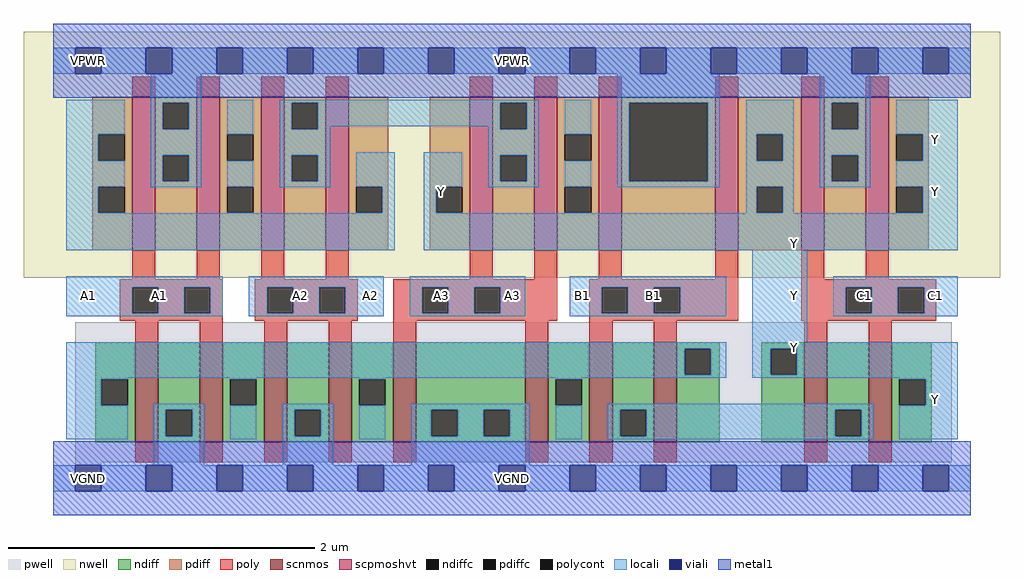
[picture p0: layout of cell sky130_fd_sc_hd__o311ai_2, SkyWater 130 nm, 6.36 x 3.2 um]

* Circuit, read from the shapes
.subckt sky130_fd_sc_hd__o311ai_2 A1 A2 A3 B1 C1 VGND VNB VPB VPWR Y
XM1 VGND A1 n1 VNB sky130_fd_pr__nfet_01v8 w=0.65 l=0.15 m=2
XM2 VGND A2 n1 VNB sky130_fd_pr__nfet_01v8 w=0.65 l=0.15 m=2
XM3 VGND A3 n1 VNB sky130_fd_pr__nfet_01v8 w=0.65 l=0.15 m=2
XM4 n2 B1 n1 VNB sky130_fd_pr__nfet_01v8 w=0.65 l=0.15 m=2
XM5 n2 C1 Y VNB sky130_fd_pr__nfet_01v8 w=0.65 l=0.15 m=2
XM6 VPWR A1 n3 VPB sky130_fd_pr__pfet_01v8_hvt w=1 l=0.15 m=2
XM7 n4 A2 n3 VPB sky130_fd_pr__pfet_01v8_hvt w=1 l=0.15 m=2
XM8 n4 A3 Y VPB sky130_fd_pr__pfet_01v8_hvt w=1 l=0.15 m=2
XM9 VPWR B1 Y VPB sky130_fd_pr__pfet_01v8_hvt w=1 l=0.15 m=2
XM10 VPWR C1 Y VPB sky130_fd_pr__pfet_01v8_hvt w=1 l=0.15 m=2
.ends

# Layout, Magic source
magic
tech sky130B
magscale 1 2
<< nwell >>
rect -38 261 1234 582
<< pwell >>
rect 29 21 1171 203
rect 29 -17 63 21
<< scnmos >>
rect 107 47 137 177
rect 191 47 221 177
rect 275 47 305 177
rect 359 47 389 177
rect 443 47 473 177
rect 615 47 645 177
rect 699 47 729 177
rect 783 47 813 177
rect 979 47 1009 177
rect 1063 47 1093 177
<< scpmoshvt >>
rect 103 297 133 497
rect 187 297 217 497
rect 271 297 301 497
rect 355 297 385 497
rect 543 297 573 497
rect 627 297 657 497
rect 711 297 741 497
rect 863 297 893 497
rect 975 297 1005 497
rect 1059 297 1089 497
<< ndiff >>
rect 55 129 107 177
rect 55 95 63 129
rect 97 95 107 129
rect 55 47 107 95
rect 137 89 191 177
rect 137 55 147 89
rect 181 55 191 89
rect 137 47 191 55
rect 221 129 275 177
rect 221 95 231 129
rect 265 95 275 129
rect 221 47 275 95
rect 305 89 359 177
rect 305 55 315 89
rect 349 55 359 89
rect 305 47 359 55
rect 389 129 443 177
rect 389 95 399 129
rect 433 95 443 129
rect 389 47 443 95
rect 473 89 615 177
rect 473 55 493 89
rect 527 55 561 89
rect 595 55 615 89
rect 473 47 615 55
rect 645 129 699 177
rect 645 95 655 129
rect 689 95 699 129
rect 645 47 699 95
rect 729 89 783 177
rect 729 55 739 89
rect 773 55 783 89
rect 729 47 783 55
rect 813 169 869 177
rect 813 135 823 169
rect 857 135 869 169
rect 813 47 869 135
rect 923 169 979 177
rect 923 135 935 169
rect 969 135 979 169
rect 923 47 979 135
rect 1009 89 1063 177
rect 1009 55 1019 89
rect 1053 55 1063 89
rect 1009 47 1063 55
rect 1093 129 1145 177
rect 1093 95 1103 129
rect 1137 95 1145 129
rect 1093 47 1145 95
<< pdiff >>
rect 51 448 103 497
rect 51 414 59 448
rect 93 414 103 448
rect 51 380 103 414
rect 51 346 59 380
rect 93 346 103 380
rect 51 297 103 346
rect 133 489 187 497
rect 133 455 143 489
rect 177 455 187 489
rect 133 421 187 455
rect 133 387 143 421
rect 177 387 187 421
rect 133 297 187 387
rect 217 448 271 497
rect 217 414 227 448
rect 261 414 271 448
rect 217 380 271 414
rect 217 346 227 380
rect 261 346 271 380
rect 217 297 271 346
rect 301 489 355 497
rect 301 455 311 489
rect 345 455 355 489
rect 301 421 355 455
rect 301 387 311 421
rect 345 387 355 421
rect 301 297 355 387
rect 385 380 437 497
rect 385 346 395 380
rect 429 346 437 380
rect 385 297 437 346
rect 491 380 543 497
rect 491 346 499 380
rect 533 346 543 380
rect 491 297 543 346
rect 573 489 627 497
rect 573 455 583 489
rect 617 455 627 489
rect 573 421 627 455
rect 573 387 583 421
rect 617 387 627 421
rect 573 297 627 387
rect 657 448 711 497
rect 657 414 667 448
rect 701 414 711 448
rect 657 380 711 414
rect 657 346 667 380
rect 701 346 711 380
rect 657 297 711 346
rect 741 489 863 497
rect 741 387 751 489
rect 853 387 863 489
rect 741 297 863 387
rect 893 448 975 497
rect 893 414 917 448
rect 951 414 975 448
rect 893 380 975 414
rect 893 346 917 380
rect 951 346 975 380
rect 893 297 975 346
rect 1005 489 1059 497
rect 1005 455 1015 489
rect 1049 455 1059 489
rect 1005 421 1059 455
rect 1005 387 1015 421
rect 1049 387 1059 421
rect 1005 297 1059 387
rect 1089 448 1141 497
rect 1089 414 1099 448
rect 1133 414 1141 448
rect 1089 380 1141 414
rect 1089 346 1099 380
rect 1133 346 1141 380
rect 1089 297 1141 346
<< ndiffc >>
rect 63 95 97 129
rect 147 55 181 89
rect 231 95 265 129
rect 315 55 349 89
rect 399 95 433 129
rect 493 55 527 89
rect 561 55 595 89
rect 655 95 689 129
rect 739 55 773 89
rect 823 135 857 169
rect 935 135 969 169
rect 1019 55 1053 89
rect 1103 95 1137 129
<< pdiffc >>
rect 59 414 93 448
rect 59 346 93 380
rect 143 455 177 489
rect 143 387 177 421
rect 227 414 261 448
rect 227 346 261 380
rect 311 455 345 489
rect 311 387 345 421
rect 395 346 429 380
rect 499 346 533 380
rect 583 455 617 489
rect 583 387 617 421
rect 667 414 701 448
rect 667 346 701 380
rect 751 387 853 489
rect 917 414 951 448
rect 917 346 951 380
rect 1015 455 1049 489
rect 1015 387 1049 421
rect 1099 414 1133 448
rect 1099 346 1133 380
<< poly >>
rect 103 497 133 523
rect 187 497 217 523
rect 271 497 301 523
rect 355 497 385 523
rect 543 497 573 523
rect 627 497 657 523
rect 711 497 741 523
rect 863 497 893 523
rect 975 497 1005 523
rect 1059 497 1089 523
rect 103 259 133 297
rect 187 259 217 297
rect 271 259 301 297
rect 355 259 385 297
rect 543 259 573 297
rect 627 259 657 297
rect 711 259 741 297
rect 863 259 893 297
rect 87 249 221 259
rect 87 215 103 249
rect 137 215 171 249
rect 205 215 221 249
rect 87 205 221 215
rect 263 249 397 259
rect 263 215 279 249
rect 313 215 347 249
rect 381 215 397 249
rect 263 205 397 215
rect 443 249 657 259
rect 443 215 481 249
rect 515 215 549 249
rect 583 215 657 249
rect 443 205 657 215
rect 699 249 893 259
rect 699 215 715 249
rect 749 215 783 249
rect 817 215 893 249
rect 699 205 893 215
rect 975 259 1005 297
rect 1059 259 1089 297
rect 975 249 1151 259
rect 975 215 1033 249
rect 1067 215 1101 249
rect 1135 215 1151 249
rect 975 205 1151 215
rect 107 177 137 205
rect 191 177 221 205
rect 275 177 305 205
rect 359 177 389 205
rect 443 177 473 205
rect 615 177 645 205
rect 699 177 729 205
rect 783 177 813 205
rect 979 177 1009 205
rect 1063 177 1093 205
rect 107 21 137 47
rect 191 21 221 47
rect 275 21 305 47
rect 359 21 389 47
rect 443 21 473 47
rect 615 21 645 47
rect 699 21 729 47
rect 783 21 813 47
rect 979 21 1009 47
rect 1063 21 1093 47
<< polycont >>
rect 103 215 137 249
rect 171 215 205 249
rect 279 215 313 249
rect 347 215 381 249
rect 481 215 515 249
rect 549 215 583 249
rect 715 215 749 249
rect 783 215 817 249
rect 1033 215 1067 249
rect 1101 215 1135 249
<< locali >>
rect 0 527 29 561
rect 63 527 121 561
rect 155 527 213 561
rect 247 527 305 561
rect 339 527 397 561
rect 431 527 489 561
rect 523 527 581 561
rect 615 527 673 561
rect 707 527 765 561
rect 799 527 857 561
rect 891 527 949 561
rect 983 527 1041 561
rect 1075 527 1133 561
rect 1167 527 1196 561
rect 17 448 93 493
rect 17 414 59 448
rect 17 380 93 414
rect 17 346 59 380
rect 127 489 193 527
rect 127 455 143 489
rect 177 455 193 489
rect 127 421 193 455
rect 127 387 143 421
rect 177 387 193 421
rect 127 379 193 387
rect 227 448 261 493
rect 227 380 261 414
rect 17 345 93 346
rect 295 489 633 493
rect 295 455 311 489
rect 345 459 583 489
rect 345 455 361 459
rect 295 421 361 455
rect 567 455 583 459
rect 617 455 633 489
rect 295 387 311 421
rect 345 387 361 421
rect 295 379 361 387
rect 395 380 445 425
rect 227 345 261 346
rect 429 346 445 380
rect 395 345 445 346
rect 17 297 445 345
rect 483 380 533 425
rect 483 346 499 380
rect 567 421 633 455
rect 567 387 583 421
rect 617 387 633 421
rect 567 379 633 387
rect 667 448 701 493
rect 667 380 701 414
rect 483 345 533 346
rect 735 489 869 527
rect 735 387 751 489
rect 853 387 869 489
rect 735 379 869 387
rect 903 448 965 493
rect 903 414 917 448
rect 951 414 965 448
rect 903 380 965 414
rect 667 345 701 346
rect 903 346 917 380
rect 951 346 965 380
rect 999 489 1065 527
rect 999 455 1015 489
rect 1049 455 1065 489
rect 999 421 1065 455
rect 999 387 1015 421
rect 1049 387 1065 421
rect 999 379 1065 387
rect 1099 448 1179 493
rect 1133 414 1179 448
rect 1099 380 1179 414
rect 903 345 965 346
rect 1133 346 1179 380
rect 1099 345 1179 346
rect 483 297 1179 345
rect 17 249 221 263
rect 17 215 103 249
rect 137 215 171 249
rect 205 215 221 249
rect 17 211 221 215
rect 255 249 431 263
rect 255 215 279 249
rect 313 215 347 249
rect 381 215 431 249
rect 255 211 431 215
rect 465 249 615 263
rect 465 215 481 249
rect 515 215 549 249
rect 583 215 615 249
rect 465 211 615 215
rect 673 249 877 263
rect 673 215 715 249
rect 749 215 783 249
rect 817 215 877 249
rect 673 211 877 215
rect 911 177 983 297
rect 1017 249 1179 263
rect 1017 215 1033 249
rect 1067 215 1101 249
rect 1135 215 1179 249
rect 1017 211 1179 215
rect 17 169 877 177
rect 17 135 823 169
rect 857 135 877 169
rect 17 131 877 135
rect 911 169 1179 177
rect 911 135 935 169
rect 969 135 1179 169
rect 911 131 1179 135
rect 17 129 97 131
rect 17 95 63 129
rect 231 129 265 131
rect 17 51 97 95
rect 131 89 197 97
rect 131 55 147 89
rect 181 55 197 89
rect 131 17 197 55
rect 399 129 433 131
rect 231 51 265 95
rect 299 89 365 97
rect 299 55 315 89
rect 349 55 365 89
rect 299 17 365 55
rect 655 129 689 131
rect 399 51 433 95
rect 467 89 621 97
rect 467 55 493 89
rect 527 55 561 89
rect 595 55 621 89
rect 467 17 621 55
rect 1103 129 1179 131
rect 655 51 689 95
rect 723 89 1069 97
rect 723 55 739 89
rect 773 55 1019 89
rect 1053 55 1069 89
rect 723 51 1069 55
rect 1137 95 1179 129
rect 1103 51 1179 95
rect 0 -17 29 17
rect 63 -17 121 17
rect 155 -17 213 17
rect 247 -17 305 17
rect 339 -17 397 17
rect 431 -17 489 17
rect 523 -17 581 17
rect 615 -17 673 17
rect 707 -17 765 17
rect 799 -17 857 17
rect 891 -17 949 17
rect 983 -17 1041 17
rect 1075 -17 1133 17
rect 1167 -17 1196 17
<< viali >>
rect 29 527 63 561
rect 121 527 155 561
rect 213 527 247 561
rect 305 527 339 561
rect 397 527 431 561
rect 489 527 523 561
rect 581 527 615 561
rect 673 527 707 561
rect 765 527 799 561
rect 857 527 891 561
rect 949 527 983 561
rect 1041 527 1075 561
rect 1133 527 1167 561
rect 29 -17 63 17
rect 121 -17 155 17
rect 213 -17 247 17
rect 305 -17 339 17
rect 397 -17 431 17
rect 489 -17 523 17
rect 581 -17 615 17
rect 673 -17 707 17
rect 765 -17 799 17
rect 857 -17 891 17
rect 949 -17 983 17
rect 1041 -17 1075 17
rect 1133 -17 1167 17
<< metal1 >>
rect 0 561 1196 592
rect 0 527 29 561
rect 63 527 121 561
rect 155 527 213 561
rect 247 527 305 561
rect 339 527 397 561
rect 431 527 489 561
rect 523 527 581 561
rect 615 527 673 561
rect 707 527 765 561
rect 799 527 857 561
rect 891 527 949 561
rect 983 527 1041 561
rect 1075 527 1133 561
rect 1167 527 1196 561
rect 0 496 1196 527
rect 0 17 1196 48
rect 0 -17 29 17
rect 63 -17 121 17
rect 155 -17 213 17
rect 247 -17 305 17
rect 339 -17 397 17
rect 431 -17 489 17
rect 523 -17 581 17
rect 615 -17 673 17
rect 707 -17 765 17
rect 799 -17 857 17
rect 891 -17 949 17
rect 983 -17 1041 17
rect 1075 -17 1133 17
rect 1167 -17 1196 17
rect 0 -48 1196 -17
<< labels >>
flabel locali s 29 221 63 255 0 FreeSans 200 0 0 0 A1
port 1 nsew signal input
flabel locali s 949 221 983 255 0 FreeSans 200 0 0 0 Y
port 10 nsew signal output
flabel locali s 1133 221 1167 255 0 FreeSans 200 0 0 0 C1
port 5 nsew signal input
flabel locali s 1041 221 1075 255 0 FreeSans 200 0 0 0 C1
port 5 nsew signal input
flabel locali s 765 221 799 255 0 FreeSans 200 0 0 0 B1
port 4 nsew signal input
flabel locali s 673 221 707 255 0 FreeSans 200 0 0 0 B1
port 4 nsew signal input
flabel locali s 581 221 615 255 0 FreeSans 200 0 0 0 A3
port 3 nsew signal input
flabel locali s 489 221 523 255 0 FreeSans 200 0 0 0 A3
port 3 nsew signal input
flabel locali s 397 221 431 255 0 FreeSans 200 0 0 0 A2
port 2 nsew signal input
flabel locali s 305 221 339 255 0 FreeSans 200 0 0 0 A2
port 2 nsew signal input
flabel locali s 121 221 155 255 0 FreeSans 200 0 0 0 A1
port 1 nsew signal input
flabel locali s 489 357 523 391 0 FreeSans 200 0 0 0 Y
port 10 nsew signal output
flabel locali s 949 289 983 323 0 FreeSans 200 0 0 0 Y
port 10 nsew signal output
flabel locali s 1133 425 1167 459 0 FreeSans 200 0 0 0 Y
port 10 nsew signal output
flabel locali s 1133 357 1167 391 0 FreeSans 200 0 0 0 Y
port 10 nsew signal output
flabel locali s 1133 85 1167 119 0 FreeSans 200 0 0 0 Y
port 10 nsew signal output
flabel locali s 949 153 983 187 0 FreeSans 200 0 0 0 Y
port 10 nsew signal output
flabel metal1 s 29 -17 63 17 0 FreeSans 200 0 0 0 VGND
port 6 nsew ground bidirectional abutment
flabel metal1 s 29 527 63 561 0 FreeSans 200 0 0 0 VPWR
port 9 nsew power bidirectional abutment
flabel nwell s 29 527 63 561 0 FreeSans 200 0 0 0 VPB
port 8 nsew power bidirectional
flabel pwell s 29 -17 63 17 0 FreeSans 200 0 0 0 VNB
port 7 nsew ground bidirectional
rlabel comment s 0 0 0 0 4 o311ai_2
rlabel metal1 s 0 -48 1196 48 1 VGND
port 6 nsew ground bidirectional abutment
rlabel metal1 s 0 496 1196 592 1 VPWR
port 9 nsew power bidirectional abutment
<< properties >>
string FIXED_BBOX 0 0 1196 544
string GDS_END 902188
string GDS_FILE $PDKPATH/libs.ref/sky130_fd_sc_hd/gds/sky130_fd_sc_hd.gds
string GDS_START 891792
string LEFclass CORE
string LEFsite unithd
string LEFsymmetry X Y R90
string path 0.000 0.000 5.980 0.000 
<< end >>
